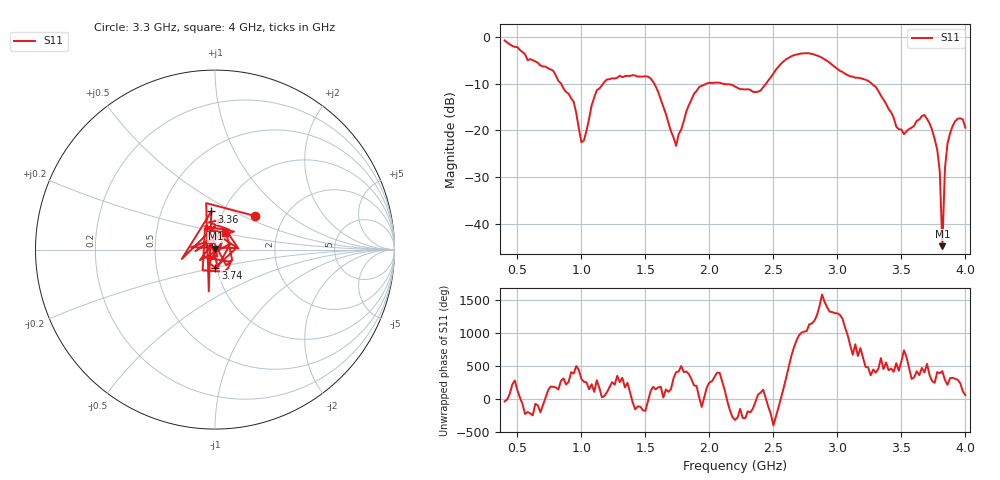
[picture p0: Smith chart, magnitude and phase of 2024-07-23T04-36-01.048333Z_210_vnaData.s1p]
!Created with skrf (http://scikit-rf.org).
# Hz S RI R 50.0
!freq ReS11 ImS11
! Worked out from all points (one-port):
!   181 points, 400 MHz to 4 GHz, reference 50 ohm
!   lowest |S11| = -44.7 dB at 3.82 GHz (marker M1), VSWR 1.01, Z = 50.3 + j0.521 ohm
!   |S11| at or under -10 dB: 1.569 GHz to 1.978 GHz (409.6 MHz wide, 23.1 % of centre); 2.101 GHz to 2.443 GHz (341.5 MHz wide, 15 % of centre); 3.267 GHz to end of sweep (the widest 3 of 4)
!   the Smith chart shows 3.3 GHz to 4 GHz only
!   S11 on the Smith chart (normalised r, x): 3.3 GHz: 1.43, +0.59; 3.36 GHz: 0.88, +0.39; 3.74 GHz: 0.98, -0.20; 4 GHz: 1.10, +0.20
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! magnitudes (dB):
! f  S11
! 400 MHz  -0.8
! 780 MHz  -7.3
! 860 MHz  -11.1
! 940 MHz  -13.9
! 1 GHz  -22.6
! 1.12 GHz  -11.4
! 1.3 GHz  -8.3
! 1.54 GHz  -8.9
! 1.74 GHz  -23.3
! 1.76 GHz  -20.8
! 1.92 GHz  -10.7
! 2.2 GHz  -10.6
! 2.4 GHz  -11.5
! 2.66 GHz  -3.9
! 2.86 GHz  -4.2
! 3.1 GHz  -8.4
! 3.3 GHz  -10.7
! 3.36 GHz  -13.4
! 3.46 GHz  -19.2
! 3.56 GHz  -19.7
! 3.68 GHz  -16.7
! 3.74 GHz  -19.9
! 3.8 GHz  -28.8
! 3.82 GHz  -44.7
! 3.84 GHz  -28.2
! 3.86 GHz  -22.9
! 3.94 GHz  -17.5
! 4 GHz  -19.4
